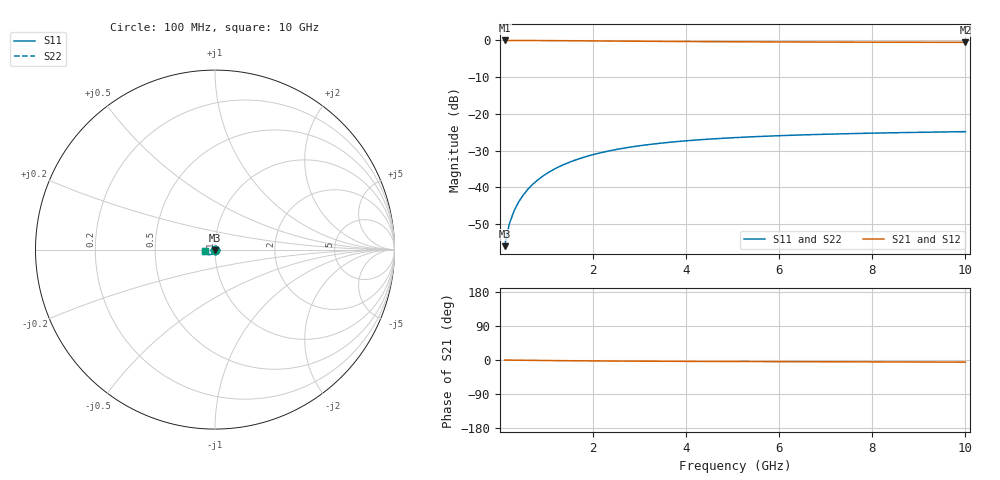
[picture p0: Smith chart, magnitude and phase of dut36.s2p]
! Touchstone file exported from HFSS 2024.1.0
!  File:  C:/UserFiles/LocalFiles/RDL_TSV_Batchsim/temp_TSV1_36_1779370540.aedt
!  Generated:  09:42:56 PM May 21, 2026
!  Design:  TSV1
!  Project:  temp_TSV1_36_1779370540
!  Setup:  Setup1
!  Solution:  Sweep
! Variables:
!  dtsv = 11.73um
!  hbump = 3um
!  htsv = 88.05um
!  lrdl = 252.1521522um
!  p = 40
!  p1 = 48.22um
!  t = 500um
!  trdl = 3um
!  wrdl = 24.89489489um
# GHz S MA R 50.000000
! Terminal data exported
! Port[1] = TSV22_T1
! Port[2] = TSV22_T2
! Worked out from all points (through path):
!   100 points, 100 MHz to 10 GHz, reference 50 ohm
!   highest |S21| = 0.00 dB at 100 MHz (marker M1); lowest = -0.5 dB at 10 GHz (marker M2)
!   lowest |S11| = -56.0 dB at 100 MHz (marker M3), VSWR 1.00, Z = 50 - j0.159 ohm
!   |S11| at or under -10 dB: start of sweep to end of sweep
!   |S22| runs from -56.0 to -24.8 dB; largest |S21 - S12| = 4.2e-15
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0.1  0.001587 -87.6  0.9998 -0.1  0.9998 -0.1  0.001587 -87.6
! Gamma 0 0 0 0
! Port Impedance 50 0 50 0
0.2  0.003168 -91.1  0.9997 -0.3  0.9997 -0.3  0.003168 -91.1
0.3  0.004749 -93.4  0.9994 -0.4  0.9994 -0.4  0.004749 -93.4
0.4  0.006324 -95.4  0.9991 -0.6  0.9991 -0.6  0.006324 -95.4
0.5  0.007887 -97.2  0.9987 -0.7  0.9987 -0.7  0.007887 -97.2
0.6  0.009434 -99.0  0.9982 -0.8  0.9982 -0.8  0.009434 -99.0
0.7  0.01096 -100.8  0.9976 -1.0  0.9976 -1.0  0.01096 -100.8
0.8  0.01246 -102.5  0.9969 -1.1  0.9969 -1.1  0.01246 -102.5
0.9  0.01394 -104.2  0.9962 -1.2  0.9962 -1.2  0.01394 -104.2
1.1  0.0168 -107.4  0.9946 -1.5  0.9946 -1.5  0.0168 -107.4
1.4  0.02084 -112.0  0.9919 -1.8  0.9919 -1.8  0.02084 -112.0
1.6  0.02335 -115.0  0.9899 -2.0  0.9899 -2.0  0.02335 -115.0
1.8  0.02571 -117.7  0.9879 -2.2  0.9879 -2.2  0.02571 -117.7
2.1  0.02897 -121.7  0.9847 -2.5  0.9847 -2.5  0.02897 -121.7
2.5  0.03281 -126.5  0.9805 -2.8  0.9805 -2.8  0.03281 -126.5
2.9  0.03613 -130.9  0.9764 -3.0  0.9764 -3.0  0.03613 -130.9
3.4  0.03964 -135.8  0.9717 -3.3  0.9717 -3.3  0.03964 -135.8
4.2  0.04407 -142.4  0.9652 -3.7  0.9652 -3.7  0.04407 -142.4
5.1  0.04778 -148.6  0.9593 -4.0  0.9593 -4.0  0.04778 -148.6
6.7  0.05228 -157.2  0.9517 -4.5  0.9517 -4.5  0.05228 -157.2
8.4  0.05537 -164.2  0.9463 -5.1  0.9463 -5.1  0.05537 -164.2
10  0.05739 -169.6  0.9428 -5.6  0.9428 -5.6  0.05739 -169.6
